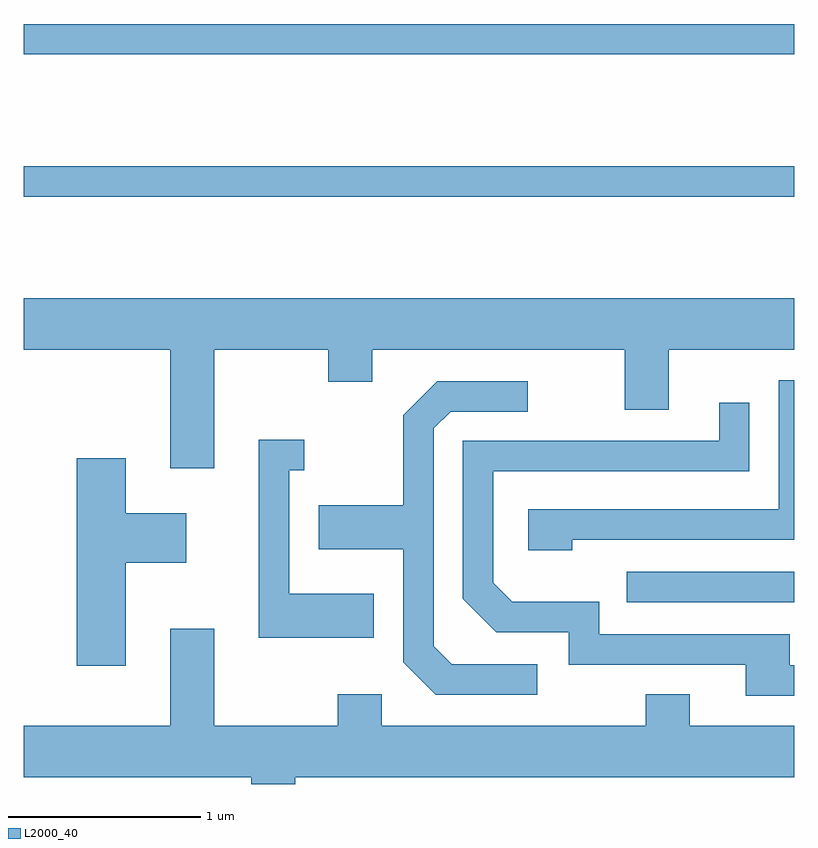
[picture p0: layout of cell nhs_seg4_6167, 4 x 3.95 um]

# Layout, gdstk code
import gdstk
lib = gdstk.Library(unit=1e-6, precision=1e-09)
def R(c, l, rs):  # rectangles x0, y0, x1, y1
    for r in rs: c.add(gdstk.rectangle(r[:2], r[2:], *l))
def P(c, l, *ps):  # polygons
    for p in ps: c.add(gdstk.Polygon(p, *l))
L2000_40 = (2000, 40)

nhs_seg4_6167 = lib.new_cell('nhs_seg4_6167')
R(nhs_seg4_6167, L2000_40, [(368.743,1348.926,369.611,1349.084), (365.611,1351.031,369.611,1351.189), (365.611,1351.771,369.611,1351.929)])
P(nhs_seg4_6167, L2000_40, [(366.599,1350.236),(367.191,1350.236),(367.191,1350.071),(367.419,1350.071),(367.419,1350.236),(368.731,1350.236),(368.731,1349.926),(368.959,1349.926),(368.959,1350.236),(369.611,1350.236),(369.611,1350.504),(365.611,1350.504),(365.611,1350.236),(366.371,1350.236),(366.371,1349.621),(366.599,1349.621)],
  [(368.459,1349.251),(369.611,1349.251),(369.611,1350.079),(369.531,1350.079),(369.531,1349.409),(368.231,1349.409),(368.231,1349.196),(368.459,1349.196)],
  [(368.278,1348.604),(367.832,1348.604),(367.739,1348.697),(367.739,1349.829),(367.827,1349.916),(368.228,1349.916),(368.228,1350.074),(367.759,1350.074),(367.581,1349.897),(367.581,1349.429),(367.141,1349.429),(367.141,1349.201),(367.581,1349.201),(367.581,1348.614),(367.749,1348.446),(368.278,1348.446)],
  [(369.611,1348.599),(369.589,1348.599),(369.589,1348.759),(368.599,1348.759),(368.599,1348.929),(368.147,1348.929),(368.049,1349.027),(368.049,1349.606),(369.379,1349.606),(369.379,1349.963),(369.221,1349.963),(369.221,1349.764),(367.891,1349.764),(367.891,1348.944),(368.064,1348.771),(368.441,1348.771),(368.441,1348.601),(369.361,1348.601),(369.361,1348.441),(369.611,1348.441)],
  [(367.429,1348.969),(366.989,1348.969),(366.989,1349.611),(367.068,1349.611),(367.068,1349.769),(366.831,1349.769),(366.831,1348.741),(367.429,1348.741)],
  [(366.139,1349.131),(366.454,1349.131),(366.454,1349.389),(366.139,1349.389),(366.139,1349.674),(365.886,1349.674),(365.886,1348.596),(366.139,1348.596)],
  [(367.019,1348.016),(369.611,1348.016),(369.611,1348.284),(369.069,1348.284),(369.069,1348.449),(368.841,1348.449),(368.841,1348.284),(367.469,1348.284),(367.469,1348.449),(367.241,1348.449),(367.241,1348.284),(366.599,1348.284),(366.599,1348.789),(366.371,1348.789),(366.371,1348.284),(365.611,1348.284),(365.611,1348.016),(366.791,1348.016),(366.791,1347.982),(367.019,1347.982)])

lib.write_gds('nhs_seg4_6167.gds')
